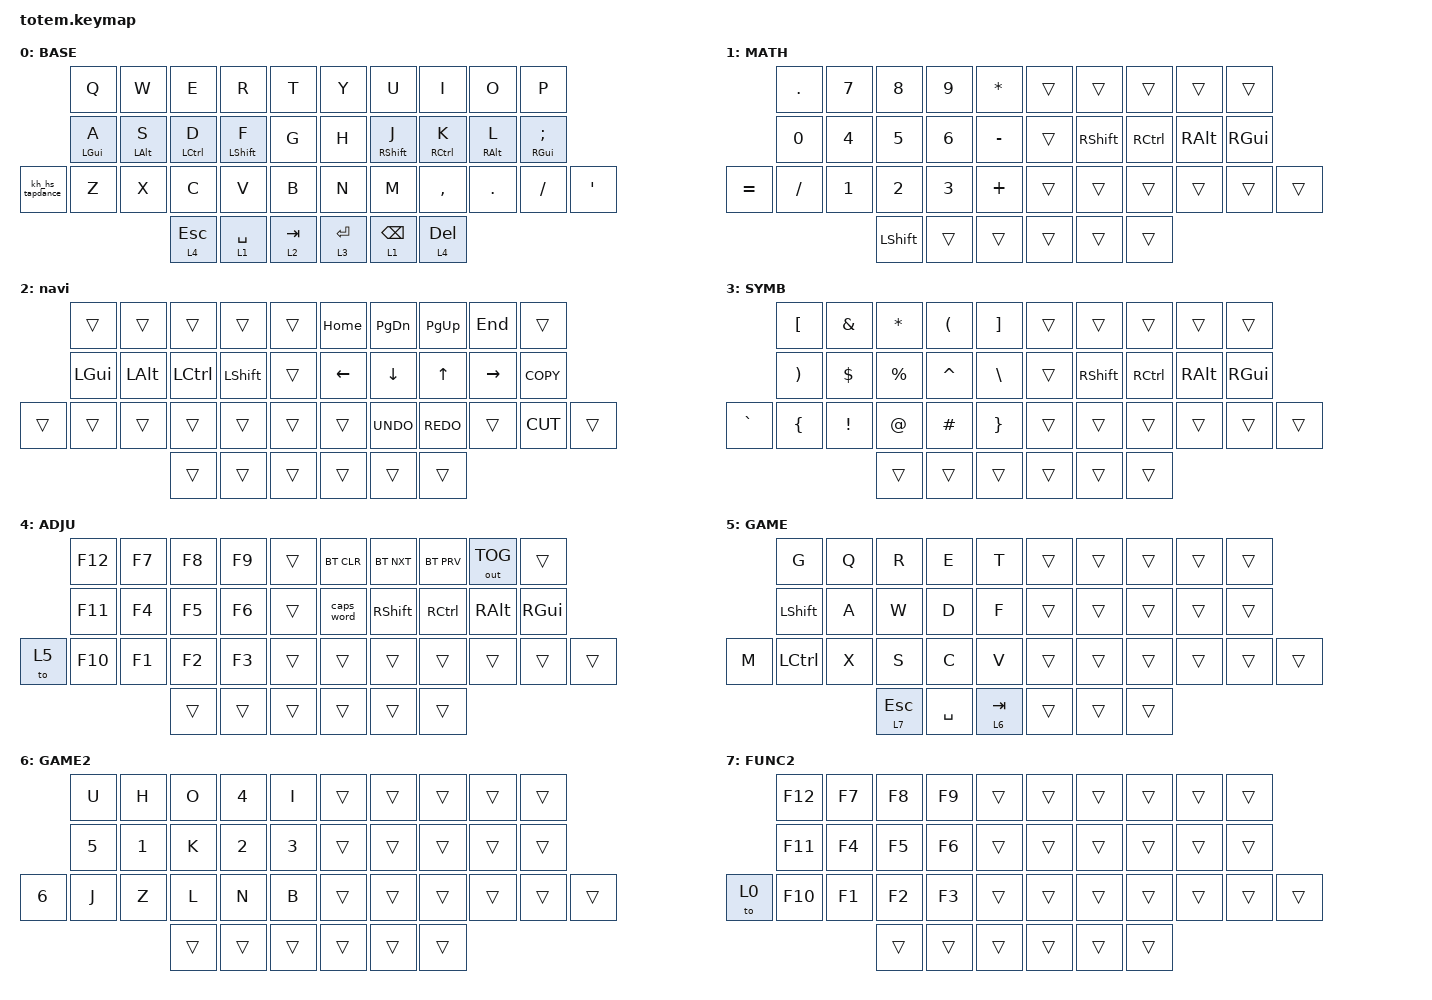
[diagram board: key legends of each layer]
//
//                                                        ▀▀▀▀▀     ▀▀▀▀▀          ▀▀█▀▀
//                                                        ▄▀▀▀▄  ▄  ▄▀▀▀▄  ▄  ▄▀▀▀▄  █  ▄▀▀▀▄
//                                                        █   █  █  █   █  █  █   █  █  █   █
//                                                         ▀▀▀   █   ▀▀▀   █   ▀▀▀   ▀   ▀▀▀
//                                                               █      ▄▄▄█▄▄▄    █   █  
//                                                               ▀      █  █  █     █▄█
//                                                             ▀▀▀▀▀    █  █  █      ▀
//                                                                      ▀  ▀  ▀
//
// ▄▄▄▄▄▄▄▄▄▄▄▄▄▄▄▄▄▄▄▄▄▄▄▄▄▄▄▄▄▄▄▄▄▄▄▄▄▄▄▄▄▄▄▄▄▄▄▄▄▄▄▄▄▄▄▄▄▄▄▄▄▄▄▄▄▄▄▄▄▄▄▄▄▄▄▄▄▄▄▄▄▄▄▄▄▄▄▄▄▄▄▄▄▄▄▄▄▄▄▄▄▄▄▄▄▄▄▄▄▄▄▄▄▄▄▄▄▄▄▄▄▄▄▄▄▄▄▄▄▄▄▄▄▄▄▄▄▄▄▄▄▄▄▄▄▄▄▄▄

#define BASE 0
#define MATH 1
#define SYMB 2
#define ADJU  3

#include <behaviors.dtsi>
#include <dt-bindings/zmk/bt.h>
#include <dt-bindings/zmk/keys.h>
#include <dt-bindings/zmk/outputs.h>

/ {
    combos {
        compatible = "zmk,combos";

        combo_esc {
            timeout-ms = <50>;
            key-positions = <0 1>;
            bindings = <&kp ESC>;
        };
    };

    behaviors {
        ss_hs_modmorph: ss_hs_modmorph {
            compatible = "zmk,behavior-mod-morph";
            label = "SS_HS_MODMORPH";
            bindings = <&kp M>, <&kp RIGHT_BRACKET>;

            #binding-cells = <0>;
            mods = <(MOD_LSFT|MOD_RSFT)>;
        };

        kh_hs_tapdance: kh_hs_tapdance {
            compatible = "zmk,behavior-tap-dance";
            label = "KH_HS_TAPDANCE";
            #binding-cells = <0>;
            tapping-term-ms = <200>;
            bindings = <&kp LEFT_BRACKET>, <&kp RIGHT_BRACKET>;
        };

        hrm: hrm {
            compatible = "zmk,behavior-hold-tap";
            #binding-cells = <2>;
            flavor = "tap-preferred";
            tapping-term-ms = <200>;
            quick-tap-ms = <200>;
            require-prior-idle-ms = <125>;
            bindings = <&kp>, <&kp>;
        };
    };

    keymap {
        compatible = "zmk,keymap";

        base {
            label = "BASE";
            bindings = <
                 &kp Q        &kp W        &kp E         &kp R         &kp T        &kp Y        &kp U            &kp I         &kp O        &kp P
                 &hrm LGUI A  &hrm LALT S  &hrm LCTRL D  &hrm LSHFT F  &kp G        &kp H        &hrm RSHFT J     &hrm RCTRL K  &hrm RALT L  &hrm RGUI SEMICOLON
&kh_hs_tapdance  &kp Z        &kp X        &kp C         &kp V         &kp B        &kp N        &kp M            &kp COMMA     &kp DOT      &kp FSLH             &kp SQT
                                           &lt 4 ESCAPE  &lt 1 SPACE   &lt 2 TAB    &lt 3 ENTER  &lt 1 BACKSPACE  &lt 4 DELETE
            >;
        };

        math {
            label = "MATH";
            bindings = <
           &kp DOT    &kp N7        &kp N8          &kp N9        &kp ASTERISK    &trans  &trans           &trans     &trans         &trans
           &kp N0     &kp NUMBER_4  &kp N5          &kp N6        &kp MINUS       &trans  &kp RIGHT_SHIFT  &kp RCTRL  &kp RIGHT_ALT  &kp RIGHT_GUI
&kp EQUAL  &kp SLASH  &kp NUMBER_1  &kp NUMBER_2    &kp NUMBER_3  &kp PLUS        &trans  &trans           &trans     &trans         &trans         &trans
                                    &kp LEFT_SHIFT  &trans        &trans          &trans  &trans           &trans
            >;
        };

        navi {
            bindings = <
        &trans    &trans    &trans     &trans          &trans    &kp HOME  &kp PAGE_DOWN  &kp PG_UP   &kp END    &trans
        &kp LGUI  &kp LALT  &kp LCTRL  &kp LEFT_SHIFT  &trans    &kp LEFT  &kp DOWN       &kp UP      &kp RIGHT  &kp K_COPY
&trans  &trans    &trans    &trans     &trans          &trans    &trans    &kp K_UNDO     &kp K_REDO  &trans     &kp K_CUT   &trans
                            &trans     &trans          &trans    &trans    &trans         &trans
            >;
        };

        symb {
            label = "SYMB";
            bindings = <
           &kp LEFT_BRACKET       &kp AMPERSAND    &kp ASTRK    &kp LPAR   &kp RIGHT_BRACKET    &trans  &trans     &trans     &trans    &trans
           &kp RIGHT_PARENTHESIS  &kp DOLLAR       &kp PERCENT  &kp CARET  &kp BACKSLASH        &trans  &kp RSHFT  &kp RCTRL  &kp RALT  &kp RGUI
&kp GRAVE  &kp LEFT_BRACE         &kp EXCLAMATION  &kp AT_SIGN  &kp HASH   &kp RIGHT_BRACE      &trans  &trans     &trans     &trans    &trans    &trans
                                                   &trans       &trans     &trans               &trans  &trans     &trans
            >;
        };

        func {
            label = "ADJU";
            bindings = <
       &kp F12  &kp F7  &kp F8  &kp F9  &trans    &bt BT_CLR  &bt BT_NXT  &bt BT_PRV  &out OUT_TOG  &trans
       &kp F11  &kp F4  &kp F5  &kp F6  &trans    &caps_word  &kp RSHIFT  &kp RCTRL   &kp RALT      &kp RGUI
&to 5  &kp F10  &kp F1  &kp F2  &kp F3  &trans    &trans      &trans      &trans      &trans        &trans    &trans
                        &trans  &trans  &trans    &trans      &trans      &trans
            >;
        };

        GAME {
            bindings = <
       &kp G      &kp Q  &kp R         &kp E      &kp T        &trans  &trans  &trans  &trans  &trans
       &kp LSHFT  &kp A  &kp W         &kp D      &kp F        &trans  &trans  &trans  &trans  &trans
&kp M  &kp LCTRL  &kp X  &kp S         &kp C      &kp V        &trans  &trans  &trans  &trans  &trans  &trans
                         &lt 7 ESCAPE  &kp SPACE  &lt 6 TAB    &trans  &trans  &trans
            >;
        };

        GAME2 {
            bindings = <
        &kp U   &kp H         &kp O   &kp N4  &kp I     &trans  &trans  &trans  &trans  &trans
        &kp N5  &kp NUMBER_1  &kp K   &kp N2  &kp N3    &trans  &trans  &trans  &trans  &trans
&kp N6  &kp J   &kp Z         &kp L   &kp N   &kp B     &trans  &trans  &trans  &trans  &trans  &trans
                              &trans  &trans  &trans    &trans  &trans  &trans
            >;
        };

        FUNC2 {
            bindings = <
       &kp F12  &kp F7  &kp F8  &kp F9  &trans    &trans  &trans  &trans  &trans  &trans
       &kp F11  &kp F4  &kp F5  &kp F6  &trans    &trans  &trans  &trans  &trans  &trans
&to 0  &kp F10  &kp F1  &kp F2  &kp F3  &trans    &trans  &trans  &trans  &trans  &trans  &trans
                        &trans  &trans  &trans    &trans  &trans  &trans
            >;
        };
    };
};
